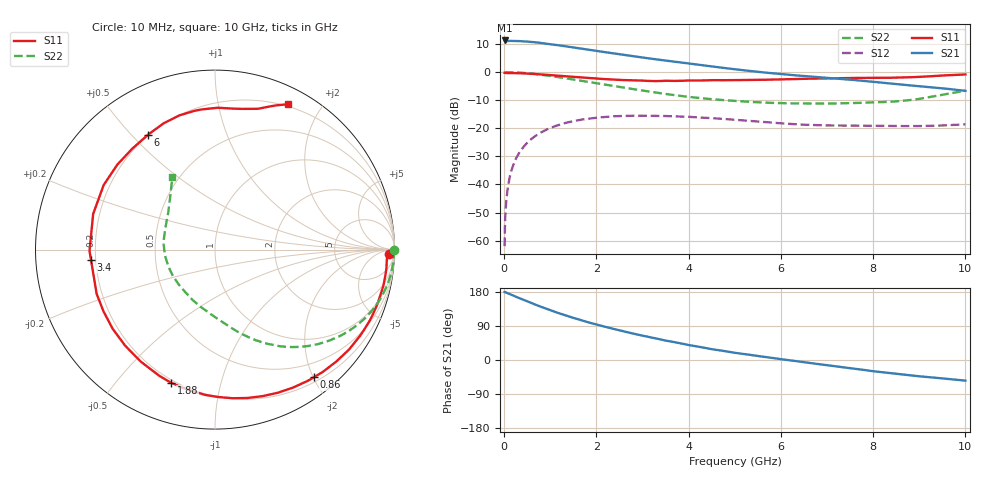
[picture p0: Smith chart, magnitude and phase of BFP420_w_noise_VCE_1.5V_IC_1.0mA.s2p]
! Infineon Technologies  Discrete & RF Semiconductors
! BFP420
! VCE =  1.5 V,  IC =  1.0 mA
! Common Emitter S-Parameters:  Jan 2016
# GHz  S  MA  R  50
!  f  S11  S21  S12  S22
! GHz  MAG  ANG  MAG  ANG  MAG  ANG  MAG  ANG
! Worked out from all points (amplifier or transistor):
!   233 points, 10 MHz to 10 GHz, reference 50 ohm
!   highest |S21| = 11.2 dB at 10 MHz (marker M1)
!   |S21| within 3 dB of that: start of sweep to 1.717 GHz
!   unconditionally stable (mu >= 1): 4.304 GHz to end of sweep
!   at 200 MHz: K = 0.01, MSG = 22.0 dB, |S12| = -33.0 dB
!   at 1.74 GHz: K = 0.30, MSG = 12.5 dB, |S12| = -16.8 dB
!   at 10 GHz: K = 1.36, MAG = 2.4 dB, |S12| = -18.6 dB
!   lowest NFmin = 0.53 dB at 900 MHz
!   S11 on the Smith chart (normalised r, x): 10 MHz: 41, -28; 860 MHz: 0.27, -2.01; 1.88 GHz: 0.19, -0.71; 3.4 GHz: 0.18, -0.04; 6 GHz: 0.20, +0.56; 10 GHz: 0.18, +1.60
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0.01  0.9673 -1.3  3.645 179.5  0.0008 64.3  0.9972 -0.1
0.02  0.963 -1.3  3.527 179.4  0.0023 84.5  0.9969 -0.6
0.04  0.9602 -2.4  3.541 178.1  0.0044 87.1  0.9969 -1.4
0.06  0.9591 -3.6  3.554 176.9  0.0066 87.2  0.9966 -2.2
0.105  0.961 -6.4  3.576 174.8  0.0118 85.9  0.9954 -3.9
0.18  0.9594 -11.0  3.576 171.0  0.0202 83.4  0.9914 -6.6
0.36  0.9509 -22.1  3.538 161.8  0.0402 76.5  0.9745 -13.1
0.6  0.9315 -36.7  3.425 149.7  0.0653 67.3  0.937 -21.5
0.86  0.8994 -52.3  3.242 137.6  0.0895 57.7  0.8832 -29.8
1.2  0.8584 -72.0  2.977 122.8  0.116 46.3  0.8056 -39.5
1.68  0.8011 -97.9  2.609 104.6  0.1425 31.9  0.6981 -51.0
1.88  0.7803 -108.1  2.464 97.6  0.1503 26.5  0.6568 -55.2
2.2  0.7488 -123.5  2.252 87.2  0.1598 18.6  0.5959 -61.4
2.6  0.7207 -142.4  2.02 75.2  0.1662 9.4  0.5268 -68.6
3  0.704 -159.5  1.816 64.2  0.1678 1.3  0.4686 -75.3
3.4  0.6934 -175.4  1.638 54.1  0.1653 -5.7  0.4189 -82.1
4  0.7073 163.7  1.424 39.5  0.1597 -14.6  0.3616 -93.4
5.1  0.7208 137.1  1.097 17.4  0.1399 -26.1  0.3027 -116.0
6  0.7408 120.3  0.921 2.2  0.122 -30.2  0.2803 -136.0
6.8  0.7665 107.7  0.811 -10.6  0.1137 -30.0  0.275 -155.2
8.4  0.7925 82.2  0.622 -35.2  0.1098 -29.4  0.2972 160.0
10  0.9057 63.4  0.463 -54.4  0.1175 -26.5  0.4669 120.6
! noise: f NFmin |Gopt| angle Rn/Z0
0.9  0.53  0.67  34  0.35
1.8  1.15  0.44  77  0.27
2.4  1.28  0.44  100  0.22
3  1.61  0.45  131  0.15
4  1.9  0.47  -177  0.09
5  2.32  0.44  -133  0.45
6  3.43  0.6  -118  0.25
